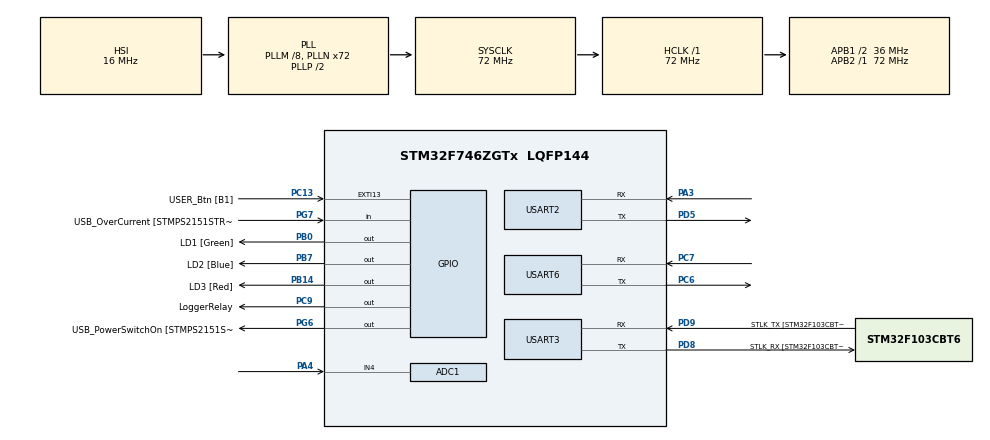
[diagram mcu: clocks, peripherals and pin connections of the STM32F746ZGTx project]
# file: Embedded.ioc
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ADC1.Channel-1\#ChannelRegularConversion=ADC_CHANNEL_4
ADC1.NbrOfConversionFlag=1
ADC1.Rank-1\#ChannelRegularConversion=1
ADC1.Resolution=ADC_RESOLUTION_10B
ADC1.SamplingTime-1\#ChannelRegularConversion=ADC_SAMPLETIME_3CYCLES
ADC1.master=1
Dma.Request0=USART6_RX
Dma.Request1=USART6_TX
Dma.USART6_RX.0.Direction=DMA_PERIPH_TO_MEMORY
Dma.USART6_RX.0.FIFOMode=DMA_FIFOMODE_DISABLE
Dma.USART6_RX.0.Instance=DMA2_Stream1
Dma.USART6_RX.0.MemDataAlignment=DMA_MDATAALIGN_BYTE
Dma.USART6_RX.0.MemInc=DMA_MINC_ENABLE
Dma.USART6_RX.0.Mode=DMA_CIRCULAR
Dma.USART6_RX.0.PeriphDataAlignment=DMA_PDATAALIGN_BYTE
Dma.USART6_RX.0.PeriphInc=DMA_PINC_DISABLE
Dma.USART6_RX.0.Priority=DMA_PRIORITY_LOW
Dma.USART6_TX.1.Direction=DMA_MEMORY_TO_PERIPH
Dma.USART6_TX.1.FIFOMode=DMA_FIFOMODE_DISABLE
Dma.USART6_TX.1.Instance=DMA2_Stream6
Dma.USART6_TX.1.MemDataAlignment=DMA_MDATAALIGN_BYTE
Dma.USART6_TX.1.MemInc=DMA_MINC_ENABLE
Dma.USART6_TX.1.Mode=DMA_NORMAL
Dma.USART6_TX.1.PeriphDataAlignment=DMA_PDATAALIGN_BYTE
Dma.USART6_TX.1.PeriphInc=DMA_PINC_DISABLE
Dma.USART6_TX.1.Priority=DMA_PRIORITY_LOW
Mcu.Family=STM32F7
Mcu.Name=STM32F746ZGTx
Mcu.Package=LQFP144
NVIC.DMA2_Stream1_IRQn=true\:0\:0\:false\:false\:true\:false\:true\:true
NVIC.DMA2_Stream6_IRQn=true\:0\:0\:false\:false\:true\:false\:true\:true
NVIC.PriorityGroup=NVIC_PRIORITYGROUP_4
NVIC.USART6_IRQn=true\:0\:0\:false\:false\:true\:true\:true\:true
PA1.GPIO_Label=RMII_REF_CLK [LAN8742A-CZ-TR_REFCLK0]
PA1.Signal=ETH_REF_CLK
PA10.GPIO_Label=USB_ID
PA10.Signal=USB_OTG_FS_ID
PA11.GPIO_Label=USB_DM
PA11.Signal=USB_OTG_FS_DM
PA12.GPIO_Label=USB_DP
PA12.Signal=USB_OTG_FS_DP
PA13.GPIO_Label=TMS
PA13.Signal=SYS_JTMS-SWDIO
PA14.GPIO_Label=TCK
PA14.Signal=SYS_JTCK-SWCLK
PA2.GPIO_Label=RMII_MDIO [LAN8742A-CZ-TR_MDIO]
PA2.Signal=ETH_MDIO
PA3.Mode=Asynchronous
PA3.Signal=USART2_RX
PA4.Signal=ADCx_IN4
PA7.GPIO_Label=RMII_CRS_DV [LAN8742A-CZ-TR_CRS_DV]
PA7.Signal=ETH_CRS_DV
PA8.GPIO_Label=USB_SOF [TP1]
PA8.Signal=USB_OTG_FS_SOF
PA9.GPIO_Label=USB_VBUS
PA9.Signal=USB_OTG_FS_VBUS
PB0.GPIO_Label=LD1 [Green]
PB0.Signal=GPIO_Output
PB13.GPIO_Label=RMII_TXD1 [LAN8742A-CZ-TR_TXD1]
PB13.Signal=ETH_TXD1
PB14.GPIO_Label=LD3 [Red]
PB14.Signal=GPIO_Output
PB3.GPIO_Label=SW0
PB3.Signal=SYS_JTDO-SWO
PB7.GPIO_Label=LD2 [Blue]
PB7.Signal=GPIO_Output
PC1.GPIO_Label=RMII_MDC [LAN8742A-CZ-TR_MDC]
PC1.Signal=ETH_MDC
PC13.GPIO_Label=USER_Btn [B1]
PC13.Signal=GPXTI13
PC14/OSC32_IN.Signal=RCC_OSC32_IN
PC15/OSC32_OUT.Signal=RCC_OSC32_OUT
PC4.GPIO_Label=RMII_RXD0 [LAN8742A-CZ-TR_RXD0]
PC4.Signal=ETH_RXD0
PC5.GPIO_Label=RMII_RXD1 [LAN8742A-CZ-TR_RXD1]
PC5.Signal=ETH_RXD1
PC6.Mode=Asynchronous
PC6.Signal=USART6_TX
PC7.Mode=Asynchronous
PC7.Signal=USART6_RX
PC9.GPIO_Label=LoggerRelay
PC9.GPIO_PuPd=GPIO_PULLUP
PC9.Signal=GPIO_Output
PD5.Mode=Asynchronous
PD5.Signal=USART2_TX
PD8.GPIO_Label=STLK_RX [STM32F103CBT6_PA3]
PD8.Mode=Asynchronous
PD8.Signal=USART3_TX
PD9.GPIO_Label=STLK_TX [STM32F103CBT6_PA2]
PD9.Mode=Asynchronous
PD9.Signal=USART3_RX
PG11.GPIO_Label=RMII_TX_EN [LAN8742A-CZ-TR_TXEN]
PG11.Signal=ETH_TX_EN
PG13.GPIO_Label=RMII_TXD0 [LAN8742A-CZ-TR_TXD0]
PG13.Signal=ETH_TXD0
PG6.GPIO_Label=USB_PowerSwitchOn [STMPS2151STR_EN]
PG6.Signal=GPIO_Output
PG7.GPIO_Label=USB_OverCurrent [STMPS2151STR_FAULT]
PG7.Signal=GPIO_Input
PH0/OSC_IN.GPIO_Label=MCO [STM32F103CBT6_PA8]
PH0/OSC_IN.Signal=RCC_OSC_IN
PH1/OSC_OUT.Signal=RCC_OSC_OUT
ProjectManager.HeapSize=0x200
ProjectManager.StackSize=0x400
ProjectManager.TargetToolchain=STM32CubeIDE
RCC.48MHZClocksFreq_Value=24000000
RCC.AHBFreq_Value=72000000
RCC.APB1CLKDivider=RCC_HCLK_DIV2
RCC.APB1Freq_Value=36000000
RCC.APB1TimFreq_Value=72000000
RCC.APB2Freq_Value=72000000
RCC.APB2TimFreq_Value=72000000
RCC.CortexFreq_Value=72000000
RCC.HCLKFreq_Value=72000000
RCC.HSE_VALUE=8000000
RCC.HSI_VALUE=16000000
RCC.LSE_VALUE=32768
RCC.PLLM=8
RCC.PLLMUL=RCC_PLL_MUL9
RCC.PLLN=72
RCC.PRESCALERUSB=RCC_USBCLKSOURCE_PLL_DIV1_5
RCC.SYSCLKFreq_VALUE=72000000
RCC.SYSCLKSource=RCC_SYSCLKSOURCE_PLLCLK
RCC.SYSCLKSourceVirtual=RCC_SYSCLKSOURCE_PLLCLK
RCC.USBFreq_Value=72000000
RCC.VCOOutputFreq_Value=144000000
SH.ADCx_IN4.0=ADC1_IN4,IN4
USART2.VirtualMode-Asynchronous=VM_ASYNC
USART3.VirtualMode-Asynchronous=VM_ASYNC
USART6.VirtualMode-Asynchronous=VM_ASYNC
board=NUCLEO-F746ZG

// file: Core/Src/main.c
/* USER CODE BEGIN Header */
/**
  ******************************************************************************
  * @file           : main.c
  * @brief          : Main program body
  ******************************************************************************
  * @attention
  *
  * Copyright (c) 2022 STMicroelectronics.
  * All rights reserved.
  *
  * This software is licensed under terms that can be found in the LICENSE file
  * in the root directory of this software component.
  * If no LICENSE file comes with this software, it is provided AS-IS.
  *
  *
  * uart 6 global interupt, rx dma circular, tx dma normal for logger
  * uart 3 disable interupt and dma for data check
  * uart 2 disable interupt and dma for display
  * GPIO PC8 for logger relay
  * timer 11 activated
  *테스트테스으 고승현
  *
  ******************************************************************************
  */
/* USER CODE END Header */
#include "main.h"

/* USER CODE BEGIN Includes */
#include "stdio.h" // for printf
#include "stdlib.h"
#include "string.h"
#include "math.h"
/* USER CODE END Includes */

ADC_HandleTypeDef hadc1;

UART_HandleTypeDef huart2;
UART_HandleTypeDef huart3;
UART_HandleTypeDef huart6;
DMA_HandleTypeDef hdma_usart6_rx;
DMA_HandleTypeDef hdma_usart6_tx;

/* USER CODE BEGIN PV */
uint8_t rxBuffer[150];
const uint8_t End[] = {0xFF,0xFF,0xFF};

uint8_t rcvFlag = 0;
uint8_t sndFlag = 0;

char gps_long[11];
char gps_lat[10];
char gps_speed[6];

float vol; // for battery voltage
float vol_per; // for battery percent
/* USER CODE END PV */

void SystemClock_Config(void);
static void MX_GPIO_Init(void);
static void MX_USART6_UART_Init(void);
static void MX_DMA_Init(void);
static void MX_USART2_UART_Init(void);
static void MX_USART3_UART_Init(void);
static void MX_ADC1_Init(void);

/* USER CODE BEGIN 0 */

#ifdef __cplusplus //for printf
extern "C" int _write(int32_t file, uint8_t *ptr, int32_t len) {
#else
int _write(int32_t file, uint8_t *ptr, int32_t len) {
#endif
    if( HAL_UART_Transmit(&huart2, ptr, len, 0xFFFF) == HAL_OK ) return len; // printf for Display
    else return 0;
}

/*
void checkData() {
	for (int i = 0; i < 10; i++) {
		if ('0' > gps_long[i] || gps_long[i] > '9') {
			gps_long[0] = '0';
			gps_long[1] = '\0';

			break;
		}
		//printf("error count%d\n", i);
	}
	for (int i = 0; i < 9; i++) {
		if ('0' > gps_lat[i] || gps_lat[i] > '9') {
			gps_lat[0] = '0';
			gps_lat[1] = '\0';
			//printf("lat error\n");
			break;
		}
	}
	for (int i = 0; i < strlen(gps_speed); i++) {
		if ('0' > gps_speed[i] || gps_speed[i] > '9') {
			gps_speed[0] = '0';
			gps_speed[1] = '\0';
			break;
		}
	}
	//printf("BeforeCal gps_speed %s\n", gps_speed);
	// *3.6/1000=0.0036  //  97.2km/h = 27m/s = 27,000 mm/s -> 0.1m/s = 100 mm/s
	if (strlen(gps_speed) > 1) {
		int num = atoi(gps_speed) * 0.0036;
		if (num > 9) {
			gps_speed[0] = num / 10 + '0';
			gps_speed[1] = num % 10 + '0';
			gps_speed[2] = '\0';
		}
		else {
			gps_speed[0] = num + '0';
			gps_speed[1] = '\0';
		}
	}

}

void updateData(char* buffer) {
	int len = strlen(buffer);
	int j = 0;
	char* p;
	p = buffer;
	int colon_cnt = 0;
	int comma_cnt = 0;
	int got_lat = 0, got_long = 0, got_speed = 0; // ?���?? ?��?��?���?? 받았?��?��, ?��?�� 콤마 ?��치�? �??까워 ?��?��?���?? ?�� 받을까봐
	gps_long[0] = '0';
	gps_long[1] = '\0';
	gps_lat[0]= '0';
	gps_lat[1] = '\0';
	gps_speed[0]= '0';
	gps_speed[1] = '\0';

	//printf("updateData\n");

	for (p = buffer; p < buffer + len; p++) { // : ?���?? 찾음
		if (*p == ':') {
			colon_cnt++;
		}
		if (colon_cnt == 2) break; // *p�?? : ?���?? ?��?�� 주소?�� ?�� break
	}

	for (p; p < buffer + len; p++) { // ':' ?���?? ?��?�� ?��치�??�� ?��?��?�� ','?���?? 찾음
		if (colon_cnt < 2) break;
		if (*p == ',') comma_cnt++;
		if (comma_cnt == 1 && *(p + 10) == ',' && got_lat == 0) { // : 찾�? �???���???�� ?��?��?�� , �?? 첫번째이�?? 10�???�� ?��?���?? 콤마?���??
			for (int i = 0; i < 9; i++) { // 9�???�� �???��?��
				gps_lat[i] = *(p + i + 1);
				got_lat++;
			}

		}
		if (comma_cnt == 2 && *(p + 11) == ',' && got_long == 0) { // : 찾�? �???���???�� ?��?��?�� , �?? ?��번째?���?? 11�???�� ?��?���?? 콤마?���??
			for (int i = 0; i < 10; i++) { // 10�???�� �???��?��
				gps_long[i] = *(p + i + 1);
				got_long++;
			}

		}
		for (int i = 0; i < 5; i++) {
			if (comma_cnt == 7 && *(p + i+2) == ',' && got_speed == 0) {// 찾�? �???���???�� ?��?��?��','�?? 7번째 i+2�???�� ?��?�� 콤마?���??
				for (j = 0; j < i + 1; j++) {
					gps_speed[j] = *(p + j + 1);
				}
				gps_speed[j+1] = '\0';
				got_speed++;
				break;
			}
		}
	}
	checkData();
}
*/
float Cal_percent(float vol){
    if(vol>=57.4){
        return (float)(1.428*vol)+16;
    } else if(vol>=51.9) {
        return (float)6.91 * vol - 298.58;
    } else if(vol>=51.24){
        return (float)500/33*vol-7990/11;
    } else if(vol>=49){
        return (float)125/7*vol-865;
    } else if(vol>=46.2){
        return (float)5/14*vol-15/2;
    } else{
        return (float)45/14*vol-279/2;
    }
}

/* USER CODE END 0 */

int main(void)
{
  /* USER CODE BEGIN 1 */
	//uint16_t timer_val; // timer value
  /* USER CODE END 1 */

  /* MCU Configuration--------------------------------------------------------*/

  /* Reset of all peripherals, Initializes the Flash interface and the Systick. */
   HAL_Init();

  /* Configure the system clock */
  SystemClock_Config();

  /* Initialize all configured peripherals */
  MX_GPIO_Init();
  MX_USART6_UART_Init();
  MX_DMA_Init();
  MX_USART2_UART_Init();
  MX_USART3_UART_Init();
  MX_ADC1_Init();
  /* USER CODE BEGIN 2 */
  HAL_UART_Receive_DMA(&huart6, rxBuffer, 150); // loger recieve at buffer
  HAL_GPIO_WritePin(GPIOC, GPIO_PIN_9,GPIO_PIN_SET); // loger reset relay on
  HAL_Delay(2000);
  HAL_GPIO_WritePin(GPIOC, GPIO_PIN_9,GPIO_PIN_RESET); // loger reset relay off
  HAL_Delay(2000);

  //HAL_TIM_Base_Start(&htim11); // timer 11 start

  //timer_val = __HAL_TIM_GET_COUNTER(&htim11);// Get current time (microseconds)
  float input = 1023.0;
  //char vol_str[4];
  //vol_str[3] = 'V';
  //char vol_per_str[4];
  //vol_per_str[3]='%';
  /* USER CODE END 2 */

  /* Infinite loop */
  while (1)
  {

    /* USER CODE BEGIN 3 */
	  //printf("%d\n",timer_val);
	 //timer_val = __HAL_TIM_GET_COUNTER(&htim11);// - timer_val;
	  	  		  // If enough time has passed (1 second), toggle LED and get new timestamp
	 //if(timer_val>30000){
	//	 count_tim++;
	 //}
	  //if (count_tim>100000)
	  	  		    //  {
	  	  		        HAL_GPIO_TogglePin(GPIOB, GPIO_PIN_7); // LD2
	  	  		        HAL_ADC_Start(&hadc1);//AD변환 시작
	  	  		    	HAL_ADC_PollForConversion(&hadc1,100); //AD변환 완료될때까지 대기
	  	  		    	input = HAL_ADC_GetValue(&hadc1); //AD변환결과값을 받는다
	  	  		        float voltage = (input/1023)*3.3; // ADC to Voltage
	  	  		    	//printf("Input Voltage: %dV\n",voltage);
	  	  		    	vol = voltage/0.881198; // calculate max 3.3 to 3.7
	  	  		    	//printf("Voltage Sensor(before register): %dV\n",vol);
	  	  		    	vol = vol/0.03985; // calculate battery voltage
	  	  		        vol_per = Cal_percent(vol);
	  	  		    	//printf("Battery Voltage: %dV\nBattery Percent: %d%%\n",(int)round(vol),(int)round(vol_per));
	  	  		      if(vol_per<0||vol_per>100){
	  	  		    	  vol_per = 0;
	  	  		      }
	  	  		        printf("t4.txt=\"%d\%\"\n", (int)(round(vol_per)));
	  	  		      fflush (stdout);
	  	  		      HAL_UART_Transmit(&huart2,End, sizeof(End),10);
	  	  		      printf("t5.txt=\"%dV\"\n", (int)(round(vol)));
	  	  		  	  fflush (stdout);
	  	  		  	  HAL_UART_Transmit(&huart2,End, sizeof(End),10);
	  	  		  printf("Battery.val=\"%dV\"\n", (int)(round(vol_per)));
	  	  		  	  	  		  	  fflush (stdout);
	  	  		  	  	  		  	  HAL_UART_Transmit(&huart2,End, sizeof(End),10);
/*
	  	  		  	  	  		  	  vol_str[0]= ((int)vol)/100+48;
	  	  		  	  	  	vol_str[1]= ((int)vol)/10+48;
	  	  		  	  vol_str[2]= ((int)round(vol))/1+48;
	  	  		  	  vol_str[4] = '\0';
	  	  		  vol_per_str[0]= ((int)vol_per)/100+48;
	  	  		  	  	  		  	  	  	vol_per_str[1]= ((int)vol_per)/10+48;
	  	  		  	  	  		  	  vol_per_str[2]= ((int)round(vol_per))/1+48;
	  	  		  	  	  	vol_per_str[4] = '\0';

	  	  		  	    	HAL_UART_Transmit(&huart6,vol_str, 4,10);
	  	  		  	  HAL_UART_Transmit(&huart6,vol_per_str, 4,10);
*/
	  	  		  	 HAL_Delay(1000);
	  	  		  	 // count_tim = 0;

	  	  		        //timer_val = __HAL_TIM_GET_COUNTER(&htim11);
	  	  		     // }

/*
	  if(sndFlag)//
	  		  	      {
	  		  	        HAL_GPIO_WritePin(GPIOB, GPIO_PIN_7, GPIO_PIN_SET);
	  		  	        HAL_Delay(5);
	  		  	        HAL_GPIO_WritePin(GPIOB, GPIO_PIN_7, GPIO_PIN_RESET);
	  		  	        sndFlag = 0;
	  		  	      }

	  		  	      if(rcvFlag)
	  		  	      {
	  		  	        HAL_GPIO_WritePin(GPIOB, GPIO_PIN_14, GPIO_PIN_SET);
	  		  	        HAL_Delay(5);
	  		  	        HAL_GPIO_WritePin(GPIOB, GPIO_PIN_14, GPIO_PIN_RESET);
	  		  	        rcvFlag = 0;
	  		  	      }
*/
  }
  /* USER CODE END 3 */
}

void SystemClock_Config(void)
{
  RCC_OscInitTypeDef RCC_OscInitStruct = {0};
  RCC_ClkInitTypeDef RCC_ClkInitStruct = {0};

  /** Configure the main internal regulator output voltage
  */
  __HAL_RCC_PWR_CLK_ENABLE();
  __HAL_PWR_VOLTAGESCALING_CONFIG(PWR_REGULATOR_VOLTAGE_SCALE3);

  /** Initializes the RCC Oscillators according to the specified parameters
  * in the RCC_OscInitTypeDef structure.
  */
  RCC_OscInitStruct.OscillatorType = RCC_OSCILLATORTYPE_HSI;
  RCC_OscInitStruct.HSIState = RCC_HSI_ON;
  RCC_OscInitStruct.HSICalibrationValue = RCC_HSICALIBRATION_DEFAULT;
  RCC_OscInitStruct.PLL.PLLState = RCC_PLL_ON;
  RCC_OscInitStruct.PLL.PLLSource = RCC_PLLSOURCE_HSI;
  RCC_OscInitStruct.PLL.PLLM = 8;
  RCC_OscInitStruct.PLL.PLLN = 72;
  RCC_OscInitStruct.PLL.PLLP = RCC_PLLP_DIV2;
  RCC_OscInitStruct.PLL.PLLQ = 2;
  if (HAL_RCC_OscConfig(&RCC_OscInitStruct) != HAL_OK)
  {
    Error_Handler();
  }

  /** Initializes the CPU, AHB and APB buses clocks
  */
  RCC_ClkInitStruct.ClockType = RCC_CLOCKTYPE_HCLK|RCC_CLOCKTYPE_SYSCLK
                              |RCC_CLOCKTYPE_PCLK1|RCC_CLOCKTYPE_PCLK2;
  RCC_ClkInitStruct.SYSCLKSource = RCC_SYSCLKSOURCE_PLLCLK;
  RCC_ClkInitStruct.AHBCLKDivider = RCC_SYSCLK_DIV1;
  RCC_ClkInitStruct.APB1CLKDivider = RCC_HCLK_DIV2;
  RCC_ClkInitStruct.APB2CLKDivider = RCC_HCLK_DIV1;

  if (HAL_RCC_ClockConfig(&RCC_ClkInitStruct, FLASH_LATENCY_2) != HAL_OK)
  {
    Error_Handler();
  }
}

static void MX_ADC1_Init(void)
{

  ADC_ChannelConfTypeDef sConfig = {0};

  /** Configure the global features of the ADC (Clock, Resolution, Data Alignment and number of conversion)
  */
  hadc1.Instance = ADC1;
  hadc1.Init.ClockPrescaler = ADC_CLOCK_SYNC_PCLK_DIV2;
  hadc1.Init.Resolution = ADC_RESOLUTION_10B;
  hadc1.Init.ScanConvMode = ADC_SCAN_DISABLE;
  hadc1.Init.ContinuousConvMode = DISABLE;
  hadc1.Init.DiscontinuousConvMode = DISABLE;
  hadc1.Init.ExternalTrigConvEdge = ADC_EXTERNALTRIGCONVEDGE_NONE;
  hadc1.Init.ExternalTrigConv = ADC_SOFTWARE_START;
  hadc1.Init.DataAlign = ADC_DATAALIGN_RIGHT;
  hadc1.Init.NbrOfConversion = 1;
  hadc1.Init.DMAContinuousRequests = DISABLE;
  hadc1.Init.EOCSelection = ADC_EOC_SINGLE_CONV;
  if (HAL_ADC_Init(&hadc1) != HAL_OK)
  {
    Error_Handler();
  }

  /** Configure for the selected ADC regular channel its corresponding rank in the sequencer and its sample time.
  */
  sConfig.Channel = ADC_CHANNEL_4;
  sConfig.Rank = ADC_REGULAR_RANK_1;
  sConfig.SamplingTime = ADC_SAMPLETIME_3CYCLES;
  if (HAL_ADC_ConfigChannel(&hadc1, &sConfig) != HAL_OK)
  {
    Error_Handler();
  }

}

static void MX_USART2_UART_Init(void)
{

  huart2.Instance = USART2;
  huart2.Init.BaudRate = 115200;
  huart2.Init.WordLength = UART_WORDLENGTH_8B;
  huart2.Init.StopBits = UART_STOPBITS_1;
  huart2.Init.Parity = UART_PARITY_NONE;
  huart2.Init.Mode = UART_MODE_TX_RX;
  huart2.Init.HwFlowCtl = UART_HWCONTROL_NONE;
  huart2.Init.OverSampling = UART_OVERSAMPLING_16;
  huart2.Init.OneBitSampling = UART_ONE_BIT_SAMPLE_DISABLE;
  huart2.AdvancedInit.AdvFeatureInit = UART_ADVFEATURE_NO_INIT;
  if (HAL_UART_Init(&huart2) != HAL_OK)
  {
    Error_Handler();
  }

}

static void MX_USART3_UART_Init(void)
{

  huart3.Instance = USART3;
  huart3.Init.BaudRate = 115200;
  huart3.Init.WordLength = UART_WORDLENGTH_8B;
  huart3.Init.StopBits = UART_STOPBITS_1;
  huart3.Init.Parity = UART_PARITY_NONE;
  huart3.Init.Mode = UART_MODE_TX_RX;
  huart3.Init.HwFlowCtl = UART_HWCONTROL_NONE;
  huart3.Init.OverSampling = UART_OVERSAMPLING_16;
  huart3.Init.OneBitSampling = UART_ONE_BIT_SAMPLE_DISABLE;
  huart3.AdvancedInit.AdvFeatureInit = UART_ADVFEATURE_NO_INIT;
  if (HAL_UART_Init(&huart3) != HAL_OK)
  {
    Error_Handler();
  }

}

static void MX_USART6_UART_Init(void)
{

  huart6.Instance = USART6;
  huart6.Init.BaudRate = 115200;
  huart6.Init.WordLength = UART_WORDLENGTH_8B;
  huart6.Init.StopBits = UART_STOPBITS_1;
  huart6.Init.Parity = UART_PARITY_NONE;
  huart6.Init.Mode = UART_MODE_TX_RX;
  huart6.Init.HwFlowCtl = UART_HWCONTROL_NONE;
  huart6.Init.OverSampling = UART_OVERSAMPLING_16;
  huart6.Init.OneBitSampling = UART_ONE_BIT_SAMPLE_DISABLE;
  huart6.AdvancedInit.AdvFeatureInit = UART_ADVFEATURE_NO_INIT;
  if (HAL_UART_Init(&huart6) != HAL_OK)
  {
    Error_Handler();
  }

}

static void MX_DMA_Init(void)
{

  /* DMA controller clock enable */
  __HAL_RCC_DMA2_CLK_ENABLE();

  /* DMA interrupt init */
  /* DMA2_Stream1_IRQn interrupt configuration */
  HAL_NVIC_SetPriority(DMA2_Stream1_IRQn, 0, 0);
  HAL_NVIC_EnableIRQ(DMA2_Stream1_IRQn);
  /* DMA2_Stream6_IRQn interrupt configuration */
  HAL_NVIC_SetPriority(DMA2_Stream6_IRQn, 0, 0);
  HAL_NVIC_EnableIRQ(DMA2_Stream6_IRQn);

}

static void MX_GPIO_Init(void)
{
  GPIO_InitTypeDef GPIO_InitStruct = {0};

  /* GPIO Ports Clock Enable */
  __HAL_RCC_GPIOC_CLK_ENABLE();
  __HAL_RCC_GPIOH_CLK_ENABLE();
  __HAL_RCC_GPIOA_CLK_ENABLE();
  __HAL_RCC_GPIOB_CLK_ENABLE();
  __HAL_RCC_GPIOD_CLK_ENABLE();
  __HAL_RCC_GPIOG_CLK_ENABLE();

  /*Configure GPIO pin Output Level */
  HAL_GPIO_WritePin(GPIOB, LD1_Pin|LD3_Pin|LD2_Pin, GPIO_PIN_RESET);

  /*Configure GPIO pin Output Level */
  HAL_GPIO_WritePin(USB_PowerSwitchOn_GPIO_Port, USB_PowerSwitchOn_Pin, GPIO_PIN_RESET);

  /*Configure GPIO pin Output Level */
  HAL_GPIO_WritePin(LoggerRelay_GPIO_Port, LoggerRelay_Pin, GPIO_PIN_RESET);

  /*Configure GPIO pin : USER_Btn_Pin */
  GPIO_InitStruct.Pin = USER_Btn_Pin;
  GPIO_InitStruct.Mode = GPIO_MODE_IT_RISING;
  GPIO_InitStruct.Pull = GPIO_NOPULL;
  HAL_GPIO_Init(USER_Btn_GPIO_Port, &GPIO_InitStruct);

  /*Configure GPIO pins : RMII_MDC_Pin RMII_RXD0_Pin RMII_RXD1_Pin */
  GPIO_InitStruct.Pin = RMII_MDC_Pin|RMII_RXD0_Pin|RMII_RXD1_Pin;
  GPIO_InitStruct.Mode = GPIO_MODE_AF_PP;
  GPIO_InitStruct.Pull = GPIO_NOPULL;
  GPIO_InitStruct.Speed = GPIO_SPEED_FREQ_VERY_HIGH;
  GPIO_InitStruct.Alternate = GPIO_AF11_ETH;
  HAL_GPIO_Init(GPIOC, &GPIO_InitStruct);

  /*Configure GPIO pins : RMII_REF_CLK_Pin RMII_MDIO_Pin RMII_CRS_DV_Pin */
  GPIO_InitStruct.Pin = RMII_REF_CLK_Pin|RMII_MDIO_Pin|RMII_CRS_DV_Pin;
  GPIO_InitStruct.Mode = GPIO_MODE_AF_PP;
  GPIO_InitStruct.Pull = GPIO_NOPULL;
  GPIO_InitStruct.Speed = GPIO_SPEED_FREQ_VERY_HIGH;
  GPIO_InitStruct.Alternate = GPIO_AF11_ETH;
  HAL_GPIO_Init(GPIOA, &GPIO_InitStruct);

  /*Configure GPIO pins : LD1_Pin LD3_Pin LD2_Pin */
  GPIO_InitStruct.Pin = LD1_Pin|LD3_Pin|LD2_Pin;
  GPIO_InitStruct.Mode = GPIO_MODE_OUTPUT_PP;
  GPIO_InitStruct.Pull = GPIO_NOPULL;
  GPIO_InitStruct.Speed = GPIO_SPEED_FREQ_LOW;
  HAL_GPIO_Init(GPIOB, &GPIO_InitStruct);

  /*Configure GPIO pin : RMII_TXD1_Pin */
  GPIO_InitStruct.Pin = RMII_TXD1_Pin;
  GPIO_InitStruct.Mode = GPIO_MODE_AF_PP;
  GPIO_InitStruct.Pull = GPIO_NOPULL;
  GPIO_InitStruct.Speed = GPIO_SPEED_FREQ_VERY_HIGH;
  GPIO_InitStruct.Alternate = GPIO_AF11_ETH;
  HAL_GPIO_Init(RMII_TXD1_GPIO_Port, &GPIO_InitStruct);

  /*Configure GPIO pin : USB_PowerSwitchOn_Pin */
  GPIO_InitStruct.Pin = USB_PowerSwitchOn_Pin;
  GPIO_InitStruct.Mode = GPIO_MODE_OUTPUT_PP;
  GPIO_InitStruct.Pull = GPIO_NOPULL;
  GPIO_InitStruct.Speed = GPIO_SPEED_FREQ_LOW;
  HAL_GPIO_Init(USB_PowerSwitchOn_GPIO_Port, &GPIO_InitStruct);

  /*Configure GPIO pin : USB_OverCurrent_Pin */
  GPIO_InitStruct.Pin = USB_OverCurrent_Pin;
  GPIO_InitStruct.Mode = GPIO_MODE_INPUT;
  GPIO_InitStruct.Pull = GPIO_NOPULL;
  HAL_GPIO_Init(USB_OverCurrent_GPIO_Port, &GPIO_InitStruct);

  /*Configure GPIO pin : LoggerRelay_Pin */
  GPIO_InitStruct.Pin = LoggerRelay_Pin;
  GPIO_InitStruct.Mode = GPIO_MODE_OUTPUT_PP;
  GPIO_InitStruct.Pull = GPIO_PULLUP;
  GPIO_InitStruct.Speed = GPIO_SPEED_FREQ_LOW;
  HAL_GPIO_Init(LoggerRelay_GPIO_Port, &GPIO_InitStruct);

  /*Configure GPIO pins : USB_SOF_Pin USB_ID_Pin USB_DM_Pin USB_DP_Pin */
  GPIO_InitStruct.Pin = USB_SOF_Pin|USB_ID_Pin|USB_DM_Pin|USB_DP_Pin;
  GPIO_InitStruct.Mode = GPIO_MODE_AF_PP;
  GPIO_InitStruct.Pull = GPIO_NOPULL;
  GPIO_InitStruct.Speed = GPIO_SPEED_FREQ_VERY_HIGH;
  GPIO_InitStruct.Alternate = GPIO_AF10_OTG_FS;
  HAL_GPIO_Init(GPIOA, &GPIO_InitStruct);

  /*Configure GPIO pin : USB_VBUS_Pin */
  GPIO_InitStruct.Pin = USB_VBUS_Pin;
  GPIO_InitStruct.Mode = GPIO_MODE_INPUT;
  GPIO_InitStruct.Pull = GPIO_NOPULL;
  HAL_GPIO_Init(USB_VBUS_GPIO_Port, &GPIO_InitStruct);

  /*Configure GPIO pins : RMII_TX_EN_Pin RMII_TXD0_Pin */
  GPIO_InitStruct.Pin = RMII_TX_EN_Pin|RMII_TXD0_Pin;
  GPIO_InitStruct.Mode = GPIO_MODE_AF_PP;
  GPIO_InitStruct.Pull = GPIO_NOPULL;
  GPIO_InitStruct.Speed = GPIO_SPEED_FREQ_VERY_HIGH;
  GPIO_InitStruct.Alternate = GPIO_AF11_ETH;
  HAL_GPIO_Init(GPIOG, &GPIO_InitStruct);

}

/* USER CODE BEGIN 4 */
/*
void HAL_UART_TxCpltCallback(UART_HandleTypeDef *huart)// Tx interupt
{
  sndFlag = 1;
  //933.11,-44.43,-300.29,-0.11,-0.81,-1.34,-48.15,55.35,32.55,29.56,50.78,25.43,19:04:37.500,375521219,1270743420,55976,37329,0,0,[speed]0,0,9999,241496000,1.001,
  //aX,aY,aZ,gX,gY,gZ,mX,mY,mZ,imu_degC,humidity_%,degC,gps_Time,gps_Lat,gps_Long,gps_Alt,gps_AltMSL,gps_SIV,gps_FixType,gps_GroundSpeed,gps_Heading,gps_pDOP,gps_iTOW,output_Hz,
  /*
  printf("%s\n",rxBuffer);
  fflush (stdout);
  printf("//////////////////////////////////////////\n\n\n");
  //txLen = sizeof(txBuffer) - 1;
  //HAL_UART_Transmit(&huart3, txBuffer, txLen, 0xFFFF);
    */

      //HAL_UART_Transmit(&huart2,End, sizeof(End),10);
      //HAL_UART_Transmit(&huart3,Data, strlen(Data),10);
      //HAL_UART_Transmit(&huart3,"\n", 2,10);

//}

/*
void HAL_UART_RxCpltCallback(UART_HandleTypeDef *huart)// Rx interupt (When Buffer is full)
{
  rcvFlag = 1;
  HAL_UART_Transmit_DMA(&huart6, rxBuffer, 300);
  updateData(rxBuffer);

  printf("t3.txt=\"%s,%s\"",gps_long, gps_lat);
  fflush (stdout);
  //HAL_UART_Transmit(&huart2,End, sizeof(End),10);
  printf("t0.txt=\"%s\"", gps_speed);
  fflush (stdout);
 // HAL_UART_Transmit(&huart2,End, sizeof(End),10);
}
*/
/* USER CODE END 4 */

void Error_Handler(void)
{
  __disable_irq();
  while (1)
  {
  }
}
